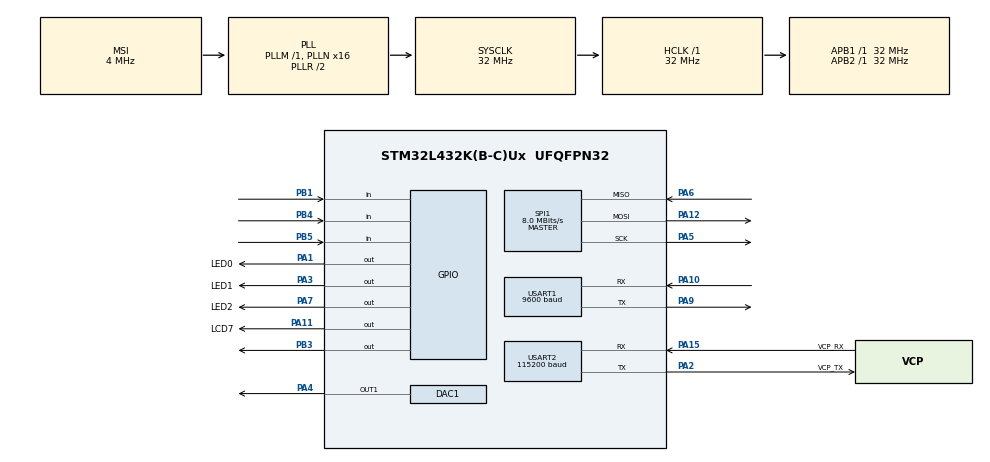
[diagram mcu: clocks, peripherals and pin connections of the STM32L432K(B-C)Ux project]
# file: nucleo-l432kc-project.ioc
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DAC1.DAC_Trigger-DAC_OUT1=DAC_TRIGGER_NONE
FATFS._MAX_SS=4096
FATFS._USE_LFN=1
Mcu.Family=STM32L4
Mcu.Name=STM32L432K(B-C)Ux
Mcu.Package=UFQFPN32
NVIC.PriorityGroup=NVIC_PRIORITYGROUP_4
NVIC.TIM1_BRK_TIM15_IRQn=true\:0\:0\:false\:false\:true\:true\:true
NVIC.TIM1_CC_IRQn=true\:0\:0\:false\:false\:true\:true\:true
NVIC.TIM1_TRG_COM_IRQn=true\:0\:0\:false\:false\:true\:true\:true
NVIC.TIM1_UP_TIM16_IRQn=true\:0\:0\:false\:false\:true\:true\:true
NVIC.TIM2_IRQn=true\:0\:0\:false\:false\:true\:true\:true
PA0.GPIO_Label=MCO [High speed clock in]
PA0.Mode=HSE-External-Clock-Source-for-LittleOrca
PA0.Signal=RCC_CK_IN
PA1.GPIO_Label=LED0
PA1.Signal=GPIO_Output
PA10.Mode=Asynchronous
PA10.Signal=USART1_RX
PA11.GPIO_Label=LCD7
PA11.Signal=GPIO_Output
PA12.Mode=Full_Duplex_Master
PA12.Signal=SPI1_MOSI
PA13\ (JTMS-SWDIO).GPIO_Label=SWDIO
PA13\ (JTMS-SWDIO).Mode=Serial_Wire
PA13\ (JTMS-SWDIO).Signal=SYS_JTMS-SWDIO
PA14\ (JTCK-SWCLK).GPIO_Label=SWCLK
PA14\ (JTCK-SWCLK).Mode=Serial_Wire
PA14\ (JTCK-SWCLK).Signal=SYS_JTCK-SWCLK
PA15\ (JTDI).GPIO_Label=VCP_RX
PA15\ (JTDI).Mode=Asynchronous
PA15\ (JTDI).Signal=USART2_RX
PA2.GPIO_Label=VCP_TX
PA2.Mode=Asynchronous
PA2.Signal=USART2_TX
PA3.GPIO_Label=LED1
PA3.Signal=GPIO_Output
PA4.Signal=COMP_DAC11_group
PA5.Mode=Full_Duplex_Master
PA5.Signal=SPI1_SCK
PA6.Mode=Full_Duplex_Master
PA6.Signal=SPI1_MISO
PA7.GPIO_Label=LED2
PA7.Signal=GPIO_Output
PA9.Mode=Asynchronous
PA9.Signal=USART1_TX
PB1.GPIO_PuPd=GPIO_NOPULL
PB1.Signal=GPIO_Input
PB3\ (JTDO-TRACESWO).GPIO_Speed=GPIO_SPEED_FREQ_MEDIUM
PB3\ (JTDO-TRACESWO).PinState=GPIO_PIN_SET
PB3\ (JTDO-TRACESWO).Signal=GPIO_Output
PB4\ (NJTRST).GPIO_PuPd=GPIO_NOPULL
PB4\ (NJTRST).Signal=GPIO_Input
PB5.GPIO_PuPd=GPIO_NOPULL
PB5.Signal=GPIO_Input
PC14-OSC32_IN\ (PC14).Mode=LSE-External-Oscillator
PC14-OSC32_IN\ (PC14).Signal=RCC_OSC32_IN
PC15-OSC32_OUT\ (PC15).Mode=LSE-External-Oscillator
PC15-OSC32_OUT\ (PC15).Signal=RCC_OSC32_OUT
ProjectManager.HeapSize=0x200
ProjectManager.StackSize=0x400
ProjectManager.TargetToolchain=STM32CubeIDE
RCC.ADCFreq_Value=16000000
RCC.AHBFreq_Value=32000000
RCC.APB1Freq_Value=32000000
RCC.APB1TimFreq_Value=32000000
RCC.APB2Freq_Value=32000000
RCC.APB2TimFreq_Value=32000000
RCC.CortexFreq_Value=32000000
RCC.HCLKFreq_Value=32000000
RCC.HSE_VALUE=8000000
RCC.HSI16_VALUE=16000000
RCC.HSI48_VALUE=48000000
RCC.HSI_VALUE=16000000
RCC.MSI_VALUE=4000000
RCC.PLLMUL=RCC_PLLMUL_4
RCC.PLLN=16
RCC.SYSCLKFreq_VALUE=32000000
RCC.SYSCLKSource=RCC_SYSCLKSOURCE_PLLCLK
RCC.USBFreq_Value=16000000
RCC.VCOOutputFreq_Value=64000000
SH.COMP_DAC11_group.0=DAC1_OUT1,DAC_OUT1
SPI1.BaudRatePrescaler=SPI_BAUDRATEPRESCALER_4
SPI1.CalculateBaudRate=8.0 MBits/s
SPI1.DataSize=SPI_DATASIZE_8BIT
SPI1.Direction=SPI_DIRECTION_2LINES
SPI1.Mode=SPI_MODE_MASTER
SPI1.VirtualType=VM_MASTER
TIM1.Period=4999
TIM1.Prescaler=31999
TIM16.Prescaler=31999
TIM2.Period=250
TIM2.Prescaler=31999
TIM2.TIM_MasterOutputTrigger=TIM_TRGO_UPDATE
USART1.BaudRate=9600
USART1.VirtualMode-Asynchronous=VM_ASYNC
USART2.BaudRate=115200
USART2.VirtualMode-Asynchronous=VM_ASYNC
VP_FATFS_VS_Generic.Mode=User_defined
VP_TIM16_VS_ClockSourceINT.Mode=Enable_Timer
VP_TIM1_VS_ClockSourceINT.Mode=Internal
VP_TIM2_VS_ClockSourceINT.Mode=Internal
board=NUCLEO-L432KC

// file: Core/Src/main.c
/* USER CODE BEGIN Header */
/**
  ******************************************************************************
  * @file           : main.c
  * @brief          : Main program body
  ******************************************************************************
  * @attention
  *
  * Copyright (c) 2022 STMicroelectronics.
  * All rights reserved.
  *
  * This software is licensed under terms that can be found in the LICENSE file
  * in the root directory of this software component.
  * If no LICENSE file comes with this software, it is provided AS-IS.
  *
  ******************************************************************************
  */
/* USER CODE END Header */
#include "main.h"
#include "fatfs.h"

/* USER CODE BEGIN Includes */
#include <stdio.h>
#include <stdlib.h>
#include <string.h>

#include "fatfs_sd.h"
//#include "DFPLAYER_MINI.h"
/* USER CODE END Includes */

/* USER CODE BEGIN PD */
#define MIN(a,b) (((a)<(b))? (a):(b))
#define BPS 1
#define DEBUG 1
/* USER CODE END PD */

DAC_HandleTypeDef hdac1;

SPI_HandleTypeDef hspi1;

TIM_HandleTypeDef htim1;
TIM_HandleTypeDef htim2;
TIM_HandleTypeDef htim16;

UART_HandleTypeDef huart1;
UART_HandleTypeDef huart2;

/* USER CODE BEGIN PV */
FATFS fs;
FATFS *pfs;
FIL fil;
FRESULT fres;
DWORD fre_clust;
char buffer[100];
char fileNames [20][20] = {0};
int allFilesCount = 0;

int *beats;
int appendBeat = 0;
int beatsSize = 1;

int counterSong = 0;
int counterBeat = 0;

char timeLCD [3] = {0}; //testing

volatile uint16_t timer_end;
uint16_t timer_val;
uint16_t time_diff;
uint16_t time_diff_arr[50];
int rand_num;
int flag;
int state = 1;
int detected = 0;
int counter = 0;
char buff [100] = {0};

int fileSelected = 1;
/* USER CODE END PV */

void SystemClock_Config(void);
static void MX_GPIO_Init(void);
static void MX_USART2_UART_Init(void);
static void MX_TIM16_Init(void);
static void MX_TIM1_Init(void);
static void MX_SPI1_Init(void);
static void MX_DAC1_Init(void);
static void MX_TIM2_Init(void);
static void MX_USART1_UART_Init(void);
/* USER CODE BEGIN PFP */
void startTraining();
void training ();
void beat_detected_callback (void* SELF, unsigned long long sample_time);
void transmit_uart (char * msg, int x){
	if (x){
		uint8_t len = strlen(msg);
		HAL_UART_Transmit (&huart2, (uint8_t*) msg, len, 200);
	}
}
void listDirectory (){

	DIR dir;
    char *path;
    UINT BytesWritten;
    char string[20];
    FRESULT res;

    path = ""; // where you want to list

    res = f_opendir(&dir, path);

//    if (res != FR_OK)
//      printf("res = %d f_opendir\n", res);

    if (res == FR_OK)
    {
      while(1)
      {
        FILINFO fno;

        res = f_readdir(&dir, &fno);

//        if (res != FR_OK)
//          printf("res = %d f_readdir\n", res);

        if ((res != FR_OK) || (fno.fname[0] == 0))
          break;

        int size = strlen(fno.fname);
        sprintf(string, "%s\r\n", fno.fname);
                	transmit_uart(string, 0);
        if (fno.fname[size-3] == 'w' && fno.fname[size-2] == 'a' && fno.fname[size-1] == 'v' && fno.fname[0] != '.'){
//        	sprintf(string, "%s\r\n", fno.fname);
//        	transmit_uart(string);
        	if (allFilesCount<20){
				strcpy(fileNames[allFilesCount],string);
				allFilesCount++;
        	}
        }
      }
    }
}
/* USER CODE END PFP */

int main(void)
{

  /* MCU Configuration--------------------------------------------------------*/

  /* Reset of all peripherals, Initializes the Flash interface and the Systick. */
  HAL_Init();

  /* Configure the system clock */
  SystemClock_Config();

  /* Initialize all configured peripherals */
  MX_GPIO_Init();
  MX_USART2_UART_Init();
  MX_TIM16_Init();
  MX_TIM1_Init();
  MX_SPI1_Init();
  MX_DAC1_Init();
  MX_FATFS_Init();
  MX_TIM2_Init();
  MX_USART1_UART_Init();
  /* USER CODE BEGIN 2 */
  HAL_Delay(200);

  transmit_uart("Now playing       ", 1);
  HAL_Delay(2000);

  char fileStr [16] = {0};
  while(1){
	  memset(fileStr, 0, 16);
	  sprintf(fileStr, "00%d", fileSelected);
//	  transmit_uart(fileStr, 1);
	  HAL_UART_Transmit(&huart2, fileStr, 12, 1000);
	  HAL_Delay(500);
	   // Show on LCD the file -> fileNames[counterFiles]
	   if(HAL_GPIO_ReadPin(GPIOB, GPIO_PIN_4) == 1){
		   break;
		}
		else if (HAL_GPIO_ReadPin(GPIOB, GPIO_PIN_1) == 1){
			fileSelected=(fileSelected+1)%4;
		}
   }

  fileStr[3] = '.';
  fileStr[4] = 't';
  fileStr[5] = 'x';
  fileStr[6] = 't';
  transmit_uart(fileStr, DEBUG);

  HAL_Delay(500);

  fres = f_mount(&fs, "", 1);
   if (fres == FR_OK){
	   transmit_uart("Micro SD card is mounted\r\n", DEBUG);
   } else if (fres != FR_OK){
	   transmit_uart("Error Micro SD card mount\r\n", DEBUG);
   }

   listDirectory();
//   transmit_uart(fileNames[0]);
   fres = f_open(&fil, fileStr, FA_READ);
   if (fres == FR_OK){
	   transmit_uart("File opened\r\n", DEBUG);
   } else if (fres != FR_OK){
	   transmit_uart("Error opening file\r\n", DEBUG);
   }

   f_gets(buffer, sizeof(buffer), &fil);
   sscanf(buffer, "%d", &beatsSize);
   beats = (int*) calloc(beatsSize, sizeof(int));

   while (f_gets(buffer, sizeof(buffer), &fil)){
   	  char mRd[10];
   	  int number;
   	  sscanf(buffer, "%d", &number);
   	  beats[appendBeat] = number;
	  appendBeat++;
//   	  sprintf(mRd, "%d", number);
//   	  transmit_uart(mRd);
   }

   fres = f_close(&fil);
   if (fres == FR_OK){
   	  transmit_uart("File closed\r\n", DEBUG);
   } else if (fres != FR_OK){
   	  transmit_uart("Error closing file\r\n", DEBUG);
   }

   fres = f_mount(NULL, "", 1);
   if (fres == FR_OK){
	   transmit_uart("Micro SD unmounted\r\n", DEBUG);
   } else if (fres != FR_OK){
   	  transmit_uart("Error unmounting SD card\r\n", DEBUG);
   }

//   HAL_TIM_Base_Start(&htim2);
   HAL_TIM_Base_Start_IT(&htim2);
   HAL_TIM_Base_Start(&htim16);

   DF_Init(30);
   DF_PlayFromStart();
//   DF_Pause();
   int i;
   for (i=1; i<fileSelected; i++){
	   DF_Next();
	   DF_Next();
   }

   //     DF_PlayFrom(1);

  /* USER CODE END 2 */

  /* Infinite loop */
  /* USER CODE BEGIN WHILE */
  while (1)
  {
//	  	  Check_Key();

	  if (beats[counterBeat] == counterSong){
		  //beat detected (start training)
		  transmit_uart("Training: ", 1);
		  startTraining();
		  sprintf(timeLCD, "%d\n", counterSong);
		  transmit_uart(timeLCD, 1);
		  counterBeat++;
	  } else if (counterSong > beats[counterBeat]) counterBeat++;

    /* USER CODE END WHILE */

  }
}

void SystemClock_Config(void)
{
  RCC_OscInitTypeDef RCC_OscInitStruct = {0};
  RCC_ClkInitTypeDef RCC_ClkInitStruct = {0};

  /** Configure the main internal regulator output voltage
  */
  if (HAL_PWREx_ControlVoltageScaling(PWR_REGULATOR_VOLTAGE_SCALE1) != HAL_OK)
  {
    Error_Handler();
  }
  /** Configure LSE Drive Capability
  */
  HAL_PWR_EnableBkUpAccess();
  __HAL_RCC_LSEDRIVE_CONFIG(RCC_LSEDRIVE_LOW);
  /** Initializes the RCC Oscillators according to the specified parameters
  * in the RCC_OscInitTypeDef structure.
  */
  RCC_OscInitStruct.OscillatorType = RCC_OSCILLATORTYPE_LSE|RCC_OSCILLATORTYPE_MSI;
  RCC_OscInitStruct.LSEState = RCC_LSE_ON;
  RCC_OscInitStruct.MSIState = RCC_MSI_ON;
  RCC_OscInitStruct.MSICalibrationValue = 0;
  RCC_OscInitStruct.MSIClockRange = RCC_MSIRANGE_6;
  RCC_OscInitStruct.PLL.PLLState = RCC_PLL_ON;
  RCC_OscInitStruct.PLL.PLLSource = RCC_PLLSOURCE_MSI;
  RCC_OscInitStruct.PLL.PLLM = 1;
  RCC_OscInitStruct.PLL.PLLN = 16;
  RCC_OscInitStruct.PLL.PLLP = RCC_PLLP_DIV7;
  RCC_OscInitStruct.PLL.PLLQ = RCC_PLLQ_DIV2;
  RCC_OscInitStruct.PLL.PLLR = RCC_PLLR_DIV2;
  if (HAL_RCC_OscConfig(&RCC_OscInitStruct) != HAL_OK)
  {
    Error_Handler();
  }
  /** Initializes the CPU, AHB and APB buses clocks
  */
  RCC_ClkInitStruct.ClockType = RCC_CLOCKTYPE_HCLK|RCC_CLOCKTYPE_SYSCLK
                              |RCC_CLOCKTYPE_PCLK1|RCC_CLOCKTYPE_PCLK2;
  RCC_ClkInitStruct.SYSCLKSource = RCC_SYSCLKSOURCE_PLLCLK;
  RCC_ClkInitStruct.AHBCLKDivider = RCC_SYSCLK_DIV1;
  RCC_ClkInitStruct.APB1CLKDivider = RCC_HCLK_DIV1;
  RCC_ClkInitStruct.APB2CLKDivider = RCC_HCLK_DIV1;

  if (HAL_RCC_ClockConfig(&RCC_ClkInitStruct, FLASH_LATENCY_1) != HAL_OK)
  {
    Error_Handler();
  }
  /** Enable MSI Auto calibration
  */
  HAL_RCCEx_EnableMSIPLLMode();
}

static void MX_DAC1_Init(void)
{

  DAC_ChannelConfTypeDef sConfig = {0};

  /** DAC Initialization
  */
  hdac1.Instance = DAC1;
  if (HAL_DAC_Init(&hdac1) != HAL_OK)
  {
    Error_Handler();
  }
  /** DAC channel OUT1 config
  */
  sConfig.DAC_SampleAndHold = DAC_SAMPLEANDHOLD_DISABLE;
  sConfig.DAC_Trigger = DAC_TRIGGER_NONE;
  sConfig.DAC_OutputBuffer = DAC_OUTPUTBUFFER_ENABLE;
  sConfig.DAC_ConnectOnChipPeripheral = DAC_CHIPCONNECT_DISABLE;
  sConfig.DAC_UserTrimming = DAC_TRIMMING_FACTORY;
  if (HAL_DAC_ConfigChannel(&hdac1, &sConfig, DAC_CHANNEL_1) != HAL_OK)
  {
    Error_Handler();
  }

}

static void MX_SPI1_Init(void)
{

  /* SPI1 parameter configuration*/
  hspi1.Instance = SPI1;
  hspi1.Init.Mode = SPI_MODE_MASTER;
  hspi1.Init.Direction = SPI_DIRECTION_2LINES;
  hspi1.Init.DataSize = SPI_DATASIZE_8BIT;
  hspi1.Init.CLKPolarity = SPI_POLARITY_LOW;
  hspi1.Init.CLKPhase = SPI_PHASE_1EDGE;
  hspi1.Init.NSS = SPI_NSS_SOFT;
  hspi1.Init.BaudRatePrescaler = SPI_BAUDRATEPRESCALER_4;
  hspi1.Init.FirstBit = SPI_FIRSTBIT_MSB;
  hspi1.Init.TIMode = SPI_TIMODE_DISABLE;
  hspi1.Init.CRCCalculation = SPI_CRCCALCULATION_DISABLE;
  hspi1.Init.CRCPolynomial = 7;
  hspi1.Init.CRCLength = SPI_CRC_LENGTH_DATASIZE;
  hspi1.Init.NSSPMode = SPI_NSS_PULSE_ENABLE;
  if (HAL_SPI_Init(&hspi1) != HAL_OK)
  {
    Error_Handler();
  }

}

static void MX_TIM1_Init(void)
{

  TIM_ClockConfigTypeDef sClockSourceConfig = {0};
  TIM_MasterConfigTypeDef sMasterConfig = {0};

  htim1.Instance = TIM1;
  htim1.Init.Prescaler = 31999;
  htim1.Init.CounterMode = TIM_COUNTERMODE_UP;
  htim1.Init.Period = 4999;
  htim1.Init.ClockDivision = TIM_CLOCKDIVISION_DIV1;
  htim1.Init.RepetitionCounter = 0;
  htim1.Init.AutoReloadPreload = TIM_AUTORELOAD_PRELOAD_DISABLE;
  if (HAL_TIM_Base_Init(&htim1) != HAL_OK)
  {
    Error_Handler();
  }
  sClockSourceConfig.ClockSource = TIM_CLOCKSOURCE_INTERNAL;
  if (HAL_TIM_ConfigClockSource(&htim1, &sClockSourceConfig) != HAL_OK)
  {
    Error_Handler();
  }
  sMasterConfig.MasterOutputTrigger = TIM_TRGO_RESET;
  sMasterConfig.MasterOutputTrigger2 = TIM_TRGO2_RESET;
  sMasterConfig.MasterSlaveMode = TIM_MASTERSLAVEMODE_DISABLE;
  if (HAL_TIMEx_MasterConfigSynchronization(&htim1, &sMasterConfig) != HAL_OK)
  {
    Error_Handler();
  }

}

static void MX_TIM2_Init(void)
{

  TIM_ClockConfigTypeDef sClockSourceConfig = {0};
  TIM_MasterConfigTypeDef sMasterConfig = {0};

  /* USER CODE BEGIN TIM2_Init 1 */
//  htim2.Init.Period = 1000/BPS;
  /* USER CODE END TIM2_Init 1 */
  htim2.Instance = TIM2;
  htim2.Init.Prescaler = 31999;
  htim2.Init.CounterMode = TIM_COUNTERMODE_UP;
  htim2.Init.Period = 1000/BPS;
  htim2.Init.ClockDivision = TIM_CLOCKDIVISION_DIV1;
  htim2.Init.AutoReloadPreload = TIM_AUTORELOAD_PRELOAD_DISABLE;
  if (HAL_TIM_Base_Init(&htim2) != HAL_OK)
  {
    Error_Handler();
  }
  sClockSourceConfig.ClockSource = TIM_CLOCKSOURCE_INTERNAL;
  if (HAL_TIM_ConfigClockSource(&htim2, &sClockSourceConfig) != HAL_OK)
  {
    Error_Handler();
  }
  sMasterConfig.MasterOutputTrigger = TIM_TRGO_UPDATE;
  sMasterConfig.MasterSlaveMode = TIM_MASTERSLAVEMODE_DISABLE;
  if (HAL_TIMEx_MasterConfigSynchronization(&htim2, &sMasterConfig) != HAL_OK)
  {
    Error_Handler();
  }

}

static void MX_TIM16_Init(void)
{

  htim16.Instance = TIM16;
  htim16.Init.Prescaler = 31999;
  htim16.Init.CounterMode = TIM_COUNTERMODE_UP;
  htim16.Init.Period = 65535;
  htim16.Init.ClockDivision = TIM_CLOCKDIVISION_DIV1;
  htim16.Init.RepetitionCounter = 0;
  htim16.Init.AutoReloadPreload = TIM_AUTORELOAD_PRELOAD_DISABLE;
  if (HAL_TIM_Base_Init(&htim16) != HAL_OK)
  {
    Error_Handler();
  }

}

static void MX_USART1_UART_Init(void)
{

  huart1.Instance = USART1;
  huart1.Init.BaudRate = 9600;
  huart1.Init.WordLength = UART_WORDLENGTH_8B;
  huart1.Init.StopBits = UART_STOPBITS_1;
  huart1.Init.Parity = UART_PARITY_NONE;
  huart1.Init.Mode = UART_MODE_TX_RX;
  huart1.Init.HwFlowCtl = UART_HWCONTROL_NONE;
  huart1.Init.OverSampling = UART_OVERSAMPLING_16;
  huart1.Init.OneBitSampling = UART_ONE_BIT_SAMPLE_DISABLE;
  huart1.AdvancedInit.AdvFeatureInit = UART_ADVFEATURE_NO_INIT;
  if (HAL_UART_Init(&huart1) != HAL_OK)
  {
    Error_Handler();
  }

}

static void MX_USART2_UART_Init(void)
{

  huart2.Instance = USART2;
  huart2.Init.BaudRate = 115200;
  huart2.Init.WordLength = UART_WORDLENGTH_8B;
  huart2.Init.StopBits = UART_STOPBITS_1;
  huart2.Init.Parity = UART_PARITY_NONE;
  huart2.Init.Mode = UART_MODE_TX_RX;
  huart2.Init.HwFlowCtl = UART_HWCONTROL_NONE;
  huart2.Init.OverSampling = UART_OVERSAMPLING_16;
  huart2.Init.OneBitSampling = UART_ONE_BIT_SAMPLE_DISABLE;
  huart2.AdvancedInit.AdvFeatureInit = UART_ADVFEATURE_NO_INIT;
  if (HAL_UART_Init(&huart2) != HAL_OK)
  {
    Error_Handler();
  }

}

static void MX_GPIO_Init(void)
{
  GPIO_InitTypeDef GPIO_InitStruct = {0};

  /* GPIO Ports Clock Enable */
  __HAL_RCC_GPIOC_CLK_ENABLE();
  __HAL_RCC_GPIOA_CLK_ENABLE();
  __HAL_RCC_GPIOB_CLK_ENABLE();

  /*Configure GPIO pin Output Level */
  HAL_GPIO_WritePin(GPIOA, LED0_Pin|LED1_Pin|LED2_Pin|LCD7_Pin, GPIO_PIN_RESET);

  /*Configure GPIO pin Output Level */
  HAL_GPIO_WritePin(GPIOB, GPIO_PIN_3, GPIO_PIN_SET);

  /*Configure GPIO pins : LED0_Pin LED1_Pin LED2_Pin LCD7_Pin */
  GPIO_InitStruct.Pin = LED0_Pin|LED1_Pin|LED2_Pin|LCD7_Pin;
  GPIO_InitStruct.Mode = GPIO_MODE_OUTPUT_PP;
  GPIO_InitStruct.Pull = GPIO_NOPULL;
  GPIO_InitStruct.Speed = GPIO_SPEED_FREQ_LOW;
  HAL_GPIO_Init(GPIOA, &GPIO_InitStruct);

  /*Configure GPIO pins : PB1 PB4 PB5 */
  GPIO_InitStruct.Pin = GPIO_PIN_1|GPIO_PIN_4|GPIO_PIN_5;
  GPIO_InitStruct.Mode = GPIO_MODE_INPUT;
  GPIO_InitStruct.Pull = GPIO_NOPULL;
  HAL_GPIO_Init(GPIOB, &GPIO_InitStruct);

  /*Configure GPIO pin : PB3 */
  GPIO_InitStruct.Pin = GPIO_PIN_3;
  GPIO_InitStruct.Mode = GPIO_MODE_OUTPUT_PP;
  GPIO_InitStruct.Pull = GPIO_NOPULL;
  GPIO_InitStruct.Speed = GPIO_SPEED_FREQ_MEDIUM;
  HAL_GPIO_Init(GPIOB, &GPIO_InitStruct);

}

/* USER CODE BEGIN 4 */
void startTraining(){

	rand_num = rand()%3;
	__HAL_TIM_SET_COUNTER(&htim16, 0);
	timer_val = __HAL_TIM_GET_COUNTER(&htim16);
	if (rand_num == 0)
		HAL_GPIO_WritePin(GPIOA, LED0_Pin, 1);
	else if (rand_num == 1)
		HAL_GPIO_WritePin(GPIOA, LED1_Pin,1);
	else if (rand_num == 2)
		HAL_GPIO_WritePin(GPIOA, LED2_Pin, 1);

	state = 1;
	flag = 0;
	while (state == 1){
		if (rand_num == 0 && HAL_GPIO_ReadPin(GPIOB, GPIO_PIN_1) == 1){
			HAL_GPIO_WritePin(GPIOA, LED0_Pin, 0);
			timer_end = __HAL_TIM_GET_COUNTER(&htim16);
			state = 0;
			flag = 1;
		}
		else if (rand_num == 1 && HAL_GPIO_ReadPin(GPIOB, GPIO_PIN_4) == 1){
			HAL_GPIO_WritePin(GPIOA, LED1_Pin,0);
			timer_end = __HAL_TIM_GET_COUNTER(&htim16);
			state = 0;
			flag = 1;
		}
		else if (rand_num == 2 && HAL_GPIO_ReadPin(GPIOB, GPIO_PIN_5) == 1){
			HAL_GPIO_WritePin(GPIOA, LED2_Pin, 0);
			timer_end = __HAL_TIM_GET_COUNTER(&htim16);
			state = 0;
			flag = 1;
		}
	}

	HAL_GPIO_WritePin(GPIOA, LED0_Pin, 0);
	HAL_GPIO_WritePin(GPIOA, LED1_Pin, 0);
	HAL_GPIO_WritePin(GPIOA, LED2_Pin, 0);

	if (flag == 0) {
		timer_end = __HAL_TIM_GET_COUNTER(&htim16);
		time_diff  = timer_end - timer_val;
	}
	else {
		time_diff  = timer_end - timer_val;
	}

	time_diff_arr[counter] = time_diff;
	counter++;

	sprintf(buff, "%d: %u    \r\n", counter, time_diff);
	HAL_UART_Transmit(&huart2, (uint8_t*) buff, sizeof(buff), 100);
}

void training (){
	 flag = 0;
	 if (counter < 50 ){
		 rand_num = rand()%3;
		 __HAL_TIM_SET_COUNTER(&htim16, 0);
		 timer_val = __HAL_TIM_GET_COUNTER(&htim16);
		 if (rand_num == 0)
			  HAL_GPIO_WritePin(GPIOA, LED0_Pin, 1);
		 else if (rand_num == 1)
			  HAL_GPIO_WritePin(GPIOA, LED1_Pin,1);
		 else if (rand_num == 2)
			  HAL_GPIO_WritePin(GPIOA, LED2_Pin, 1);

	  state = 1;
	  flag = 0;
	  HAL_TIM_Base_Start_IT(&htim1);
	  while (state == 1){
		if (rand_num == 0 && HAL_GPIO_ReadPin(GPIOB, GPIO_PIN_1) == 1){
			HAL_GPIO_WritePin(GPIOA, LED0_Pin, 0);
			timer_end = __HAL_TIM_GET_COUNTER(&htim16);
			state = 0;
			flag = 1;
			HAL_TIM_Base_Stop_IT(&htim1);
			__HAL_TIM_SET_COUNTER(&htim1, 0);
		}
		else if (rand_num == 1 && HAL_GPIO_ReadPin(GPIOB, GPIO_PIN_4) == 1){
			HAL_GPIO_WritePin(GPIOA, LED1_Pin,0);
			timer_end = __HAL_TIM_GET_COUNTER(&htim16);
			state = 0;
			flag = 1;
			HAL_TIM_Base_Stop_IT(&htim1);
			__HAL_TIM_SET_COUNTER(&htim1, 0);
		}
		else if (rand_num == 2 && HAL_GPIO_ReadPin(GPIOB, GPIO_PIN_5) == 1){
			HAL_GPIO_WritePin(GPIOA, LED2_Pin, 0);
			timer_end = __HAL_TIM_GET_COUNTER(&htim16);
			state = 0;
			flag = 1;
			HAL_TIM_Base_Stop_IT(&htim1);
			__HAL_TIM_SET_COUNTER(&htim1, 0);
		}
	  }
	  HAL_TIM_Base_Stop_IT(&htim1);

	  HAL_GPIO_WritePin(GPIOA, LED0_Pin, 0);
	  HAL_GPIO_WritePin(GPIOA, LED1_Pin, 0);
	  HAL_GPIO_WritePin(GPIOA, LED2_Pin, 0);

	  if (flag == 0) {
		  timer_end = __HAL_TIM_GET_COUNTER(&htim16);
		  time_diff  = timer_end - timer_val;
	  }
	  else {
		  time_diff  = timer_end - timer_val;
	  }

	  time_diff_arr[counter] = time_diff;
	  counter++;

	  HAL_Delay(1000);

	  sprintf(buff, "%d: %u    \r\n", counter, time_diff);
	  HAL_UART_Transmit(&huart2, (uint8_t*) buff, sizeof(buff), 100);
	 }
}
void HAL_TIM_PeriodElapsedCallback (TIM_HandleTypeDef *htim){

	if (htim == &htim2){
		counterSong++;
		state = 0;
		__HAL_TIM_SET_COUNTER(&htim2, 0);
	} else if (htim == &htim1){
		HAL_TIM_Base_Stop_IT(&htim1);
		state = 0;
	}
}
//void HAL_TIM_PeriodElapsedCallback (TIM_HandleTypeDef *htim){
//
//
//	if (htim == &htim1){
//		HAL_TIM_Base_Stop_IT(&htim1);
//		state = 0;
//	}
//}
/*--------------------------------------------------------------------*/
void beat_detected_callback (void* SELF, unsigned long long sample_time)
{

  detected++;
//    printf(" count : %d , detected: %d \n", count , detected );

  /*MKAiff* beat_aiff = (MKAiff*) SELF;
  aiffSetPlayheadToSamples     (beat_aiff, sample_time);
  float click = 1;
  aiffAddFloatingPointSamplesAtPlayhead(beat_aiff, &click, 1, aiffFloatSampleType, aiffYes);*/
}
/* USER CODE END 4 */

void Error_Handler(void)
{
  __disable_irq();
  while (1)
  {
  }
}
